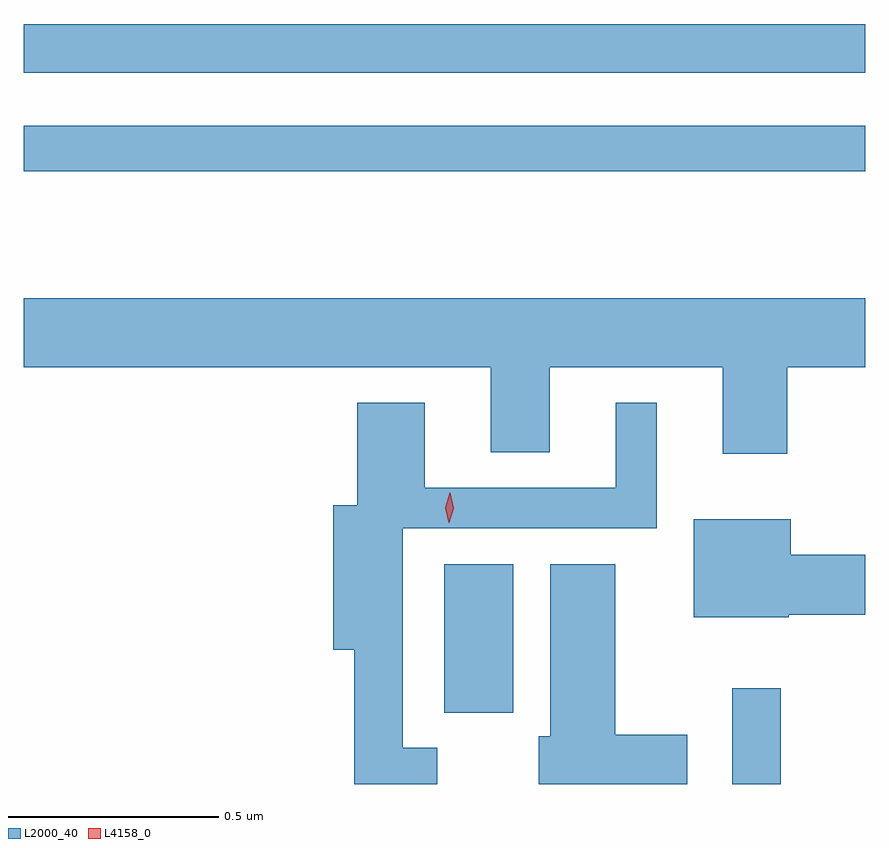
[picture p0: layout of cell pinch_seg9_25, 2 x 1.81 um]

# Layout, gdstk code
import gdstk
lib = gdstk.Library(unit=1e-6, precision=1e-09)
def R(c, l, rs):  # rectangles x0, y0, x1, y1
    for r in rs: c.add(gdstk.rectangle(r[:2], r[2:], *l))
def P(c, l, *ps):  # polygons
    for p in ps: c.add(gdstk.Polygon(p, *l))
L2000_40 = (2000, 40)
L4158_0 = (4158, 0)

pinch_seg9_25 = lib.new_cell('pinch_seg9_25')
R(pinch_seg9_25, L2000_40, [(947.901,1242.049,948.017,1242.277), (947.216,1242.219,947.38,1242.572), (946.217,1243.506,948.217,1243.614), (946.217,1243.74,948.217,1243.856)])
P(pinch_seg9_25, L2000_40, [(946.217,1243.04),(947.327,1243.04),(947.327,1242.838),(947.467,1242.838),(947.467,1243.04),(947.879,1243.04),(947.879,1242.834),(948.032,1242.834),(948.032,1243.04),(948.217,1243.04),(948.217,1243.204),(946.217,1243.204)],
  [(947.2,1242.135),(947.118,1242.135),(947.118,1242.657),(947.722,1242.657),(947.722,1242.955),(947.624,1242.955),(947.624,1242.753),(947.17,1242.753),(947.17,1242.955),(947.009,1242.955),(947.009,1242.712),(946.952,1242.712),(946.952,1242.368),(947.002,1242.368),(947.002,1242.049),(947.2,1242.049)],
  [(948.036,1242.452),(948.217,1242.452),(948.217,1242.594),(948.04,1242.594),(948.04,1242.679),(947.81,1242.679),(947.81,1242.446),(948.036,1242.446)],
  [(947.794,1242.166),(947.623,1242.166),(947.623,1242.572),(947.468,1242.572),(947.468,1242.162),(947.441,1242.162),(947.441,1242.049),(947.794,1242.049)])
P(pinch_seg9_25, L4158_0, [(947.227,1242.67),(947.227,1242.67),(947.219,1242.706),(947.23,1242.741),(947.23,1242.741),(947.231,1242.741),(947.239,1242.705),(947.228,1242.67)])

lib.write_gds('pinch_seg9_25.gds')
